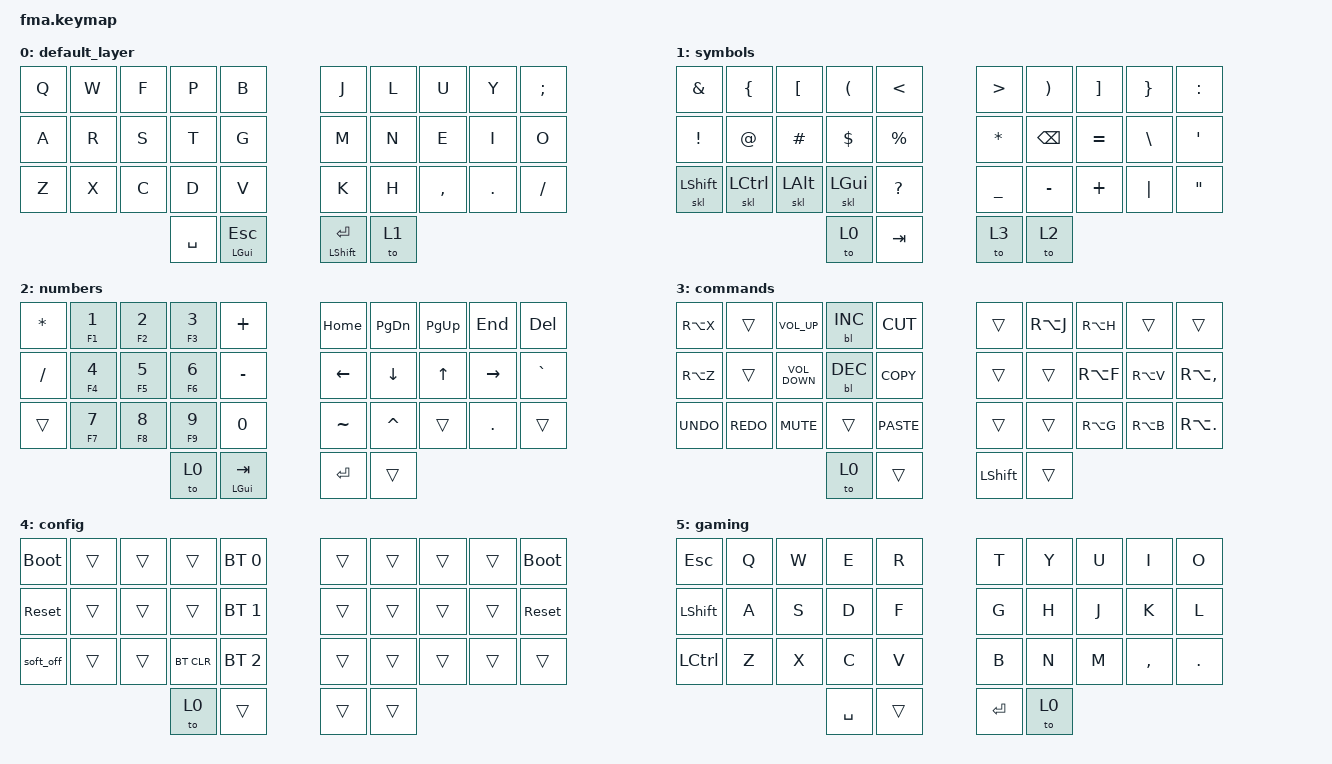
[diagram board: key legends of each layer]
#include <behaviors.dtsi>
#include <dt-bindings/zmk/backlight.h>
#include <dt-bindings/zmk/bt.h>
#include <dt-bindings/zmk/keys.h>

/ {
    behaviors {
        ht: hold_tap {
            label = "hold_tap";
            compatible = "zmk,behavior-hold-tap";
            #binding-cells = <2>;
            flavor = "tap-preferred";
            tapping-term-ms = <220>;
            quick-tap-ms = <150>;
            global-quick-tap;
            bindings = <&kp>, <&kp>;
        };

        skl: skl {
            compatible = "zmk,behavior-sticky-key";
            label = "SKL";
            bindings = <&kp>;
            #binding-cells = <1>;
            release-after-ms = <3000>;
        };
    };

    combos {
        compatible = "zmk,combos";

        left_4 {
            bindings = <&to 4>;
            key-positions = <20 31 4>;
        };

        right_4 {
            bindings = <&to 4>;
            key-positions = <32 29 5>;
        };

        to_gaming {
            bindings = <&to 5>;
            key-positions = <0 20 31 4>;
        };
    };

    keymap {
        compatible = "zmk,keymap";

        default_layer {
            bindings = <
&kp Q  &kp W  &kp F  &kp P      &kp B                &kp J                 &kp L  &kp U      &kp Y    &kp SEMICOLON
&kp A  &kp R  &kp S  &kp T      &kp G                &kp M                 &kp N  &kp E      &kp I    &kp O
&kp Z  &kp X  &kp C  &kp D      &kp V                &kp K                 &kp H  &kp COMMA  &kp DOT  &kp FSLH
                     &kp SPACE  &ht LEFT_GUI ESCAPE  &ht LEFT_SHIFT ENTER  &to 1
            >;
        };

        symbols {
            bindings = <
&kp AMPERSAND    &kp LEFT_BRACE     &kp LEFT_BRACKET  &kp LEFT_PARENTHESIS  &kp LESS_THAN  &kp GREATER_THAN  &kp RPAR       &kp RIGHT_BRACKET  &kp RIGHT_BRACE  &kp COLON
&kp EXCL         &kp AT             &kp HASH          &kp DLLR              &kp PRCNT      &kp ASTRK         &kp BACKSPACE  &kp EQUAL          &kp BSLH         &kp SINGLE_QUOTE
&skl LEFT_SHIFT  &skl LEFT_CONTROL  &skl LEFT_ALT     &skl LEFT_GUI         &kp QUESTION   &kp UNDERSCORE    &kp MINUS      &kp PLUS           &kp PIPE         &kp DOUBLE_QUOTES
                                                      &to 0                 &kp TAB        &to 3             &to 2
            >;
        };

        numbers {
            bindings = <
&kp ASTERISK  &ht F1 NUMBER_1  &ht F2 NUMBER_2  &ht F3 NUMBER_3  &kp PLUS          &kp HOME        &kp PG_DN       &kp PG_UP     &kp END          &kp DELETE
&kp SLASH     &ht F4 NUMBER_4  &ht F5 NUMBER_5  &ht F6 NUMBER_6  &kp MINUS         &kp LEFT_ARROW  &kp DOWN_ARROW  &kp UP_ARROW  &kp RIGHT_ARROW  &kp GRAVE
&trans        &ht F7 NUMBER_7  &ht F8 NUMBER_8  &ht F9 NUMBER_9  &kp N0            &kp TILDE       &kp CARET       &trans        &kp PERIOD       &trans
                                                &to 0            &ht LEFT_GUI TAB  &kp ENTER       &trans
            >;
        };

        commands {
            bindings = <
&kp RA(X)   &trans      &kp C_VOLUME_UP    &bl BL_INC  &kp K_CUT    &trans          &kp RA(J)  &kp RA(H)  &trans     &trans
&kp RA(Z)   &trans      &kp C_VOLUME_DOWN  &bl BL_DEC  &kp K_COPY   &trans          &trans     &kp RA(F)  &kp RA(V)  &kp RA(COMMA)
&kp K_UNDO  &kp K_REDO  &kp K_MUTE         &trans      &kp K_PASTE  &trans          &trans     &kp RA(G)  &kp RA(B)  &kp RA(PERIOD)
                                           &to 0       &trans       &kp LEFT_SHIFT  &trans
            >;
        };

        config {
            bindings = <
&bootloader  &trans  &trans  &trans      &bt BT_SEL 0  &trans  &trans  &trans  &trans  &bootloader
&sys_reset   &trans  &trans  &trans      &bt BT_SEL 1  &trans  &trans  &trans  &trans  &sys_reset
&soft_off    &trans  &trans  &bt BT_CLR  &bt BT_SEL 2  &trans  &trans  &trans  &trans  &trans
                             &to 0       &trans        &trans  &trans
            >;
        };

        gaming {
            bindings = <
&kp ESC    &kp Q  &kp W  &kp E      &kp R   &kp T      &kp Y  &kp U  &kp I      &kp O
&kp LSHFT  &kp A  &kp S  &kp D      &kp F   &kp G      &kp H  &kp J  &kp K      &kp L
&kp LCTRL  &kp Z  &kp X  &kp C      &kp V   &kp B      &kp N  &kp M  &kp COMMA  &kp DOT
                         &kp SPACE  &trans  &kp ENTER  &to 0
            >;
        };
    };
};
